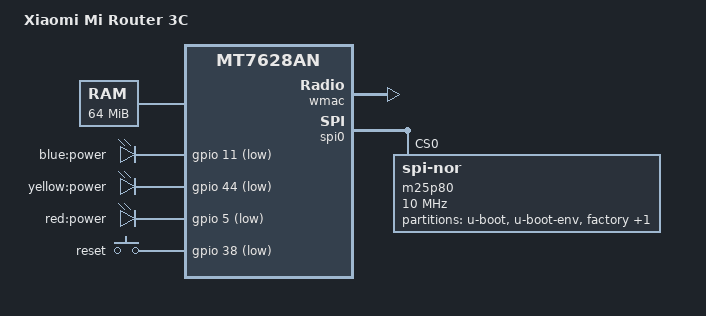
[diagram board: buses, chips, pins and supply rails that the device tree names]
/dts-v1/;

#include "mt7628an.dtsi"

#include <dt-bindings/gpio/gpio.h>
#include <dt-bindings/input/input.h>

/ {
	compatible = "xiaomi,mi-router-3c", "mediatek,mt7628an-soc";
	model = "Xiaomi Mi Router 3C";

	aliases {
		led-boot = &led_power_yellow;
		led-failsafe = &led_power_red;
		led-running = &led_power_blue;
		led-upgrade = &led_power_yellow;
	};

	chosen {
		bootargs = "console=ttyS0,115200";
	};

	memory@0 {
		device_type = "memory";
		reg = <0x0 0x4000000>;
	};

	leds {
		compatible = "gpio-leds";
        
        led_power_blue: power_blue {
			label = "blue:power";
			gpios = <&gpio 11 GPIO_ACTIVE_LOW>;
		};

		led_power_yellow: power_yellow {
			label = "yellow:power";
			gpios = <&gpio 44 GPIO_ACTIVE_LOW>;
		};

		led_power_red: power_red {
			label = "red:power";
			gpios = <&gpio 5 GPIO_ACTIVE_LOW>;
		};

	};

	keys {
		compatible = "gpio-keys";

		reset {
			label = "reset";
			gpios = <&gpio 38 GPIO_ACTIVE_LOW>;
			linux,code = <KEY_RESTART>;
		};
	};
};

&pinctrl {
	state_default: pinctrl0 {
		gpio {
			ralink,group = "refclk", "wled_an", "gpio";
			ralink,function = "gpio";
		};
	};
};

&wmac {
	status = "okay";
};

&ethernet {
	mtd-mac-address = <&factory 0x28>;
};

&spi0 {
	status = "okay";

	m25p80@0 {
		compatible = "jedec,spi-nor";
		reg = <0>;
		spi-max-frequency = <10000000>;

		partitions {
			compatible = "fixed-partitions";
			#address-cells = <1>;
			#size-cells = <1>;

			partition@0 {
				label = "u-boot";
				reg = <0x0 0x30000>;
				read-only;
			};

			partition@30000 {
				label = "u-boot-env";
				reg = <0x30000 0x10000>;
				read-only;
			};

			factory: partition@40000 {
				label = "factory";
				reg = <0x40000 0x10000>;
				read-only;
			};

			partition@50000 {
				compatible = "denx,uimage";
				label = "firmware";
				reg = <0x50000 0xfb0000>;
			};
		};
	};
};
